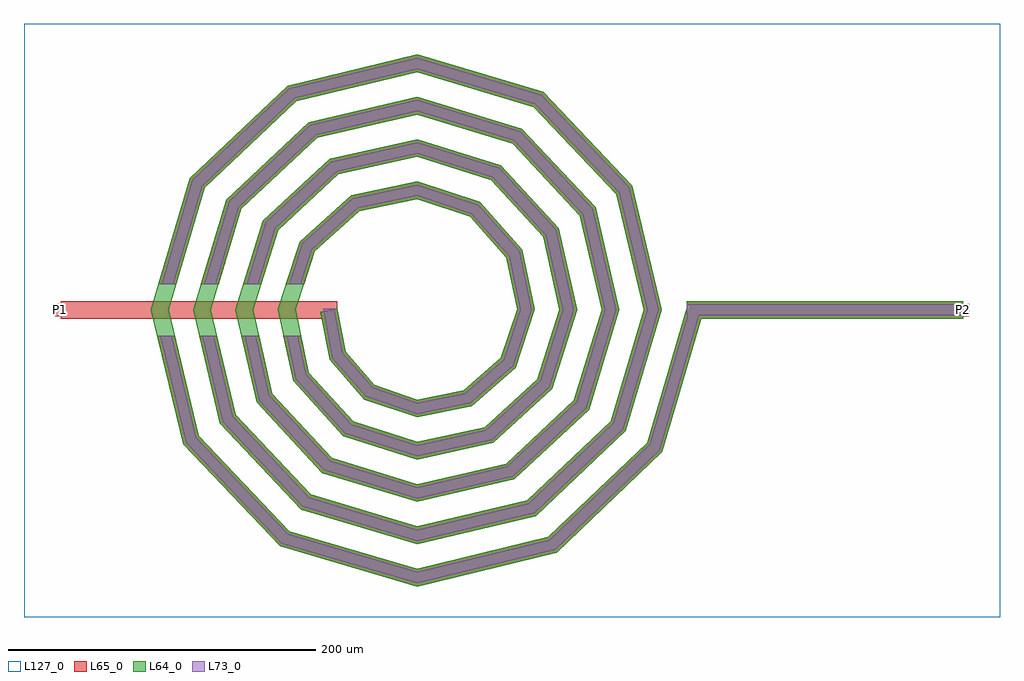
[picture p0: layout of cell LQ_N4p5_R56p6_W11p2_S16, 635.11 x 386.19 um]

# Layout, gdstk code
import gdstk
lib = gdstk.Library(unit=1e-6, precision=1e-09)
def R(c, l, rs):  # rectangles x0, y0, x1, y1
    for r in rs: c.add(gdstk.rectangle(r[:2], r[2:], *l))
def P(c, l, *ps):  # polygons
    for p in ps: c.add(gdstk.Polygon(p, *l))
L64_0 = (64, 0)
L65_0 = (65, 0)
L73_0 = (73, 0)
L127_0 = (127, 0)

lq_n4p5_r56p6_w11p2_s16 = lib.new_cell('LQ_N4p5_R56p6_W11p2_S16')
R(lq_n4p5_r56p6_w11p2_s16, L64_0, [(175.456,-5.6,355.456,5.6)])
P(lq_n4p5_r56p6_w11p2_s16, L64_0, [(-46.348,-27.239),(-27.678,-48.741),(0.386,-58.342),(30.64,-52.324),(54.675,-31.151),(65.218,0.349),(58.296,34.048),(34.617,60.614),(0.318,72.094),(-37.461,64.266),(-66.556,38.079),(-78.971,0.292),(-70.234,-40.878),(-41.538,-72.5),(0.27,-85.848),(44.299,-76.2),(78.446,-44.994),(92.726,0.252),(82.165,47.722),(48.447,84.394),(0.235,99.603),(-51.147,88.129),(-90.342,51.899),(-106.481,0.221),(-94.092,-54.574),(-55.349,-96.292),(0.208,-113.358),(58.002,-100.055),(102.242,-58.798),(120.236,0.197),(106.016,61.432),(62.246,108.193),(0.187,127.114),(-64.862,111.978),(-114.145,65.693),(-133.992,0.177),(-117.939,-68.293),(-69.14,-120.097),(0.169,-140.87),(71.725,-123.899),(126.05,-72.586),(147.748,0.161),(129.859,75.158),(76.031,132.003),(0.155,154.626),(-78.591,135.819),(-137.956,79.475),(-161.504,0.148),(-141.779,-82.025),(-82.919,-143.909),(0.142,-168.382),(85.459,-147.738),(149.863,-86.363),(175.683,1.578),(186.429,-1.578),(159.764,-92.4),(91.011,-157.918),(0.142,-179.974),(-88.965,-153.804),(-151.964,-87.567),(-173.095,0.148),(-147.844,85.531),(-84.123,146.01),(0.155,166.217),(82.098,141.884),(140.057,80.678),(159.339,0.161),(135.924,-78.665),(77.232,-134.104),(0.169,-152.461),(-75.233,-129.963),(-128.151,-73.786),(-145.582,0.177),(-124.002,71.801),(-70.34,122.198),(0.187,138.704),(68.37,118.041),(116.247,66.892),(131.826,0.197),(112.078,-64.94),(63.443,-110.295),(0.208,-124.947),(-61.511,-106.116),(-104.344,-59.993),(-118.069,0.221),(-100.152,58.083),(-56.542,98.394),(0.235,111.19),(54.657,94.188),(92.445,53.089),(104.311,0.252),(88.222,-51.232),(49.634,-86.497),(0.27,-97.433),(-47.81,-82.255),(-80.55,-46.177),(-90.554,0.292),(-76.286,44.39),(-42.716,74.605),(0.318,83.674),(40.974,70.314),(68.661,39.251),(76.795,0.349),(64.34,-37.563),(35.781,-62.72),(0.386,-69.915),(-34.157,-58.361),(-56.783,-32.304),(-62.751,-1.05),(-51.749,1.05)])
R(lq_n4p5_r56p6_w11p2_s16, L65_0, [(-231.65,-5.6,-51.65,5.6), (175.456,-5.6,355.456,5.6), (-235.65,-4,-227.65,4), (351.456,-4,359.456,4)])
P(lq_n4p5_r56p6_w11p2_s16, L65_0, [(-141.779,-82.025),(-82.92,-143.909),(0.142,-168.382),(85.459,-147.738),(149.863,-86.363),(175.683,1.578),(186.429,-1.578),(159.764,-92.4),(91.012,-157.918),(0.142,-179.974),(-88.965,-153.804),(-151.964,-87.567),(-169.012,-16.8),(-157.492,-16.8)],
  [(-117.939,-68.293),(-69.14,-120.097),(0.169,-140.87),(71.725,-123.899),(126.05,-72.586),(147.748,0.162),(129.859,75.158),(76.031,132.003),(0.155,154.626),(-78.591,135.819),(-137.956,79.475),(-156.491,16.8),(-168.171,16.8),(-147.844,85.532),(-84.123,146.01),(0.155,166.217),(82.098,141.884),(140.057,80.678),(159.339,0.162),(135.924,-78.665),(77.233,-134.104),(0.169,-152.461),(-75.233,-129.963),(-128.151,-73.786),(-141.581,-16.8),(-130.074,-16.8)],
  [(-94.092,-54.574),(-55.349,-96.292),(0.208,-113.359),(58.002,-100.055),(102.242,-58.798),(120.236,0.197),(106.017,61.432),(62.246,108.193),(0.187,127.114),(-64.862,111.978),(-114.145,65.694),(-128.877,16.8),(-140.574,16.8),(-124.002,71.801),(-70.34,122.199),(0.187,138.704),(68.37,118.041),(116.247,66.892),(131.826,0.197),(112.079,-64.94),(63.443,-110.295),(0.208,-124.947),(-61.511,-106.116),(-104.344,-59.993),(-114.189,-16.8),(-102.702,-16.8)],
  [(-70.234,-40.878),(-41.538,-72.5),(0.27,-85.848),(44.299,-76.2),(78.446,-44.994),(92.726,0.252),(82.165,47.722),(48.447,84.394),(0.235,99.603),(-51.147,88.129),(-90.342,51.899),(-101.21,16.8),(-112.935,16.8),(-100.152,58.083),(-56.542,98.394),(0.235,111.19),(54.657,94.188),(92.445,53.089),(104.311,0.252),(88.222,-51.232),(49.634,-86.497),(0.27,-97.433),(-47.81,-82.255),(-80.55,-46.177),(-86.874,-16.8),(-75.417,-16.8)],
  [(-27.678,-48.741),(0.386,-58.342),(30.64,-52.324),(54.675,-31.151),(65.218,0.349),(58.296,34.048),(34.617,60.614),(0.318,72.094),(-37.461,64.266),(-66.556,38.079),(-73.441,16.8),(-85.213,16.8),(-76.286,44.391),(-42.716,74.605),(0.318,83.674),(40.974,70.314),(68.661,39.251),(76.795,0.349),(64.34,-37.563),(35.781,-62.721),(0.386,-69.915),(-34.157,-58.361),(-56.783,-32.304),(-62.751,-1.05),(-51.749,1.05),(-46.348,-27.239)])
R(lq_n4p5_r56p6_w11p2_s16, L73_0, [(175.456,-3.6,355.456,3.6)])
P(lq_n4p5_r56p6_w11p2_s16, L73_0, [(-143.597,-83.015),(-83.999,-145.676),(0.092,-170.452),(86.45,-149.556),(151.631,-87.441),(177.602,1.014),(184.51,-1.014),(157.996,-91.322),(90.02,-156.1),(0.092,-177.904),(-87.886,-152.037),(-150.145,-86.578),(-166.955,-16.8),(-159.549,-16.8)],
  [(-119.762,-69.274),(-70.228,-121.859),(0.109,-142.94),(72.709,-125.721),(127.813,-73.671),(149.818,0.104),(131.68,76.144),(77.114,133.767),(0.099,156.696),(-79.579,137.639),(-139.722,80.557),(-158.577,16.8),(-166.085,16.8),(-146.079,84.45),(-83.135,144.19),(0.099,164.147),(81.015,140.12),(138.236,79.692),(157.269,0.104),(134.161,-77.579),(76.249,-132.281),(0.109,-150.391),(-74.145,-128.202),(-126.327,-72.806),(-139.526,-16.8),(-132.129,-16.8)],
  [(-95.923,-55.542),(-56.45,-98.046),(0.134,-115.428),(58.974,-101.883),(103.999,-59.895),(122.306,0.127),(107.843,62.407),(63.34,109.952),(0.12,129.184),(-65.84,113.803),(-115.905,66.784),(-130.965,16.8),(-138.485,16.8),(-122.242,70.71),(-69.362,120.373),(0.12,136.634),(67.277,116.282),(114.42,65.917),(129.756,0.127),(110.322,-63.843),(62.472,-108.467),(0.134,-122.878),(-60.411,-104.362),(-102.514,-59.026),(-112.138,-16.8),(-104.753,-16.8)],
  [(-72.076,-41.824),(-42.658,-74.242),(0.174,-87.917),(45.252,-78.039),(80.192,-46.108),(94.795,0.162),(84.001,48.681),(49.556,86.143),(0.151,101.672),(-52.111,89.962),(-92.094,53.003),(-103.304,16.8),(-110.841,16.8),(-98.4,56.979),(-55.579,96.561),(0.151,109.121),(53.548,92.439),(90.609,52.131),(102.243,0.162),(86.476,-50.118),(48.682,-84.658),(0.174,-95.364),(-46.69,-80.513),(-78.708,-45.231),(-84.828,-16.8),(-77.463,-16.8)],
  [(-28.835,-50.459),(0.248,-60.408),(31.558,-54.18),(56.401,-32.296),(67.285,0.224),(60.147,34.977),(35.752,62.346),(0.205,74.162),(-38.399,66.112),(-68.294,39.206),(-75.543,16.8),(-83.111,16.8),(-74.548,43.264),(-41.778,72.758),(0.205,81.607),(39.839,68.582),(66.81,38.322),(74.727,0.224),(62.614,-36.418),(34.863,-60.864),(0.248,-67.848),(-33,-56.643),(-54.92,-31.399),(-60.786,0.675),(-53.714,0.675),(-48.211,-28.143)])
R(lq_n4p5_r56p6_w11p2_s16, L127_0, [(-255.65,-199.974,379.456,186.217)])
lq_n4p5_r56p6_w11p2_s16.add(gdstk.Label('P2', (355.456,0), layer=65, texttype=0))
lq_n4p5_r56p6_w11p2_s16.add(gdstk.Label('P1', (-231.65,0), layer=65, texttype=0))
lq_n4p5_r56p6_w11p2_s16.add(gdstk.Label('P2', (359.456,0), layer=145, texttype=0))
lq_n4p5_r56p6_w11p2_s16.add(gdstk.Label('P1', (-235.65,0), layer=145, texttype=0))

lib.write_gds('LQ_N4p5_R56p6_W11p2_S16.gds')
